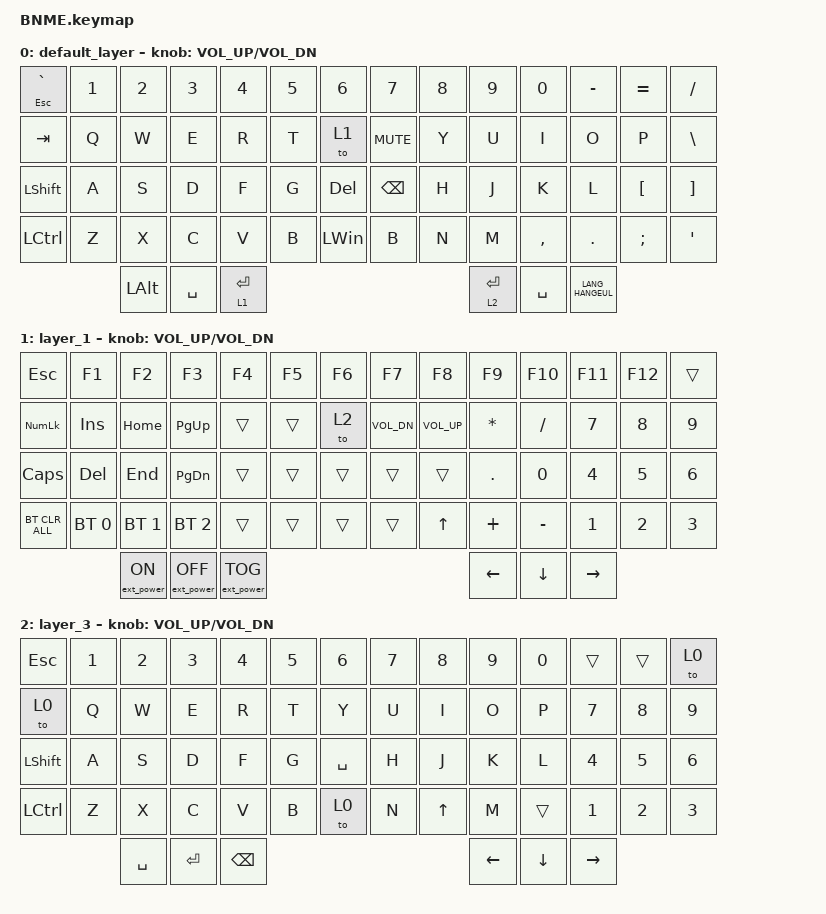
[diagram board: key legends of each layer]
/*
 * Copyright (c) 2020 The ZMK Contributors
 *
 * SPDX-License-Identifier: MIT
 */

#include <behaviors.dtsi>
#include <dt-bindings/zmk/bt.h>
#include <dt-bindings/zmk/ext_power.h>
#include <dt-bindings/zmk/keys.h>

/ {
    keymap {
        compatible = "zmk,keymap";

        default_layer {
            // ------------------------------------------------------------------------------------------------------------
            // |  ESC  |  1  |  2  |  3   |  4   |  5   |                   |  6   |  7    |  8    |  9   |   0   |   `   |
            // |  TAB  |  Q  |  W  |  E   |  R   |  T   |                   |  Y   |  U    |  I    |  O   |   P   |   -   |
            // |  CTRL |  A  |  S  |  D   |  F   |  G   |                   |  H   |  J    |  K    |  L   |   ;   |   '   |
            // | SHIFT |  Z  |  X  |  C   |  V   |  B   |   "["  |  |  "]"  |  N   |  M    |  ,    |  .   |   /   | SHIFT |
            //                     | ALT  | GUI  | LOWER|  SPACE |  | ENTER | RAISE| BSPC  | GUI   |

            bindings = <
&mt ESC GRAVE  &kp N1  &kp N2    &kp N3     &kp N4       &kp N5  &kp N6    &kp N7         &kp N8  &kp N9       &kp N0     &kp MINUS         &kp EQUAL  &kp FSLH
&kp TAB        &kp Q   &kp W     &kp E      &kp R        &kp T   &to 1     &kp C_MUTE     &kp Y   &kp U        &kp I      &kp O             &kp P      &kp BSLH
&kp LSHFT      &kp A   &kp S     &kp D      &kp F        &kp G   &kp DEL   &kp BACKSPACE  &kp H   &kp J        &kp K      &kp L             &kp LBKT   &kp RBKT
&kp LCTRL      &kp Z   &kp X     &kp C      &kp V        &kp B   &kp LWIN  &kp B          &kp N   &kp M        &kp COMMA  &kp DOT           &kp SEMI   &kp SQT
                       &kp LALT  &kp SPACE  &lt 1 ENTER                                           &lt 2 ENTER  &kp SPACE  &kp LANG_HANGEUL
            >;

            sensor-bindings = <&inc_dec_kp C_VOL_UP C_VOL_DN>;
        };

        layer_1 {
            bindings = <
&kp ESCAPE      &kp F1        &kp F2            &kp F3             &kp F4             &kp F5  &kp F6  &kp F7        &kp F8           &kp F9        &kp F10    &kp F11    &kp F12  &trans
&kp KP_NUMLOCK  &kp INS       &kp HOME          &kp PAGE_UP        &trans             &trans  &to 2   &kp C_VOL_DN  &kp C_VOLUME_UP  &kp ASTERISK  &kp SLASH  &kp N7     &kp N8   &kp N9
&kp CAPSLOCK    &kp DELETE    &kp END           &kp PAGE_DOWN      &trans             &trans  &trans  &trans        &trans           &kp DOT       &kp N0     &kp N4     &kp N5   &kp N6
&bt BT_CLR_ALL  &bt BT_SEL 0  &bt BT_SEL 1      &bt BT_SEL 2       &trans             &trans  &trans  &trans        &kp UP_ARROW     &kp PLUS      &kp MINUS  &kp N1     &kp N2   &kp N3
                              &ext_power EP_ON  &ext_power EP_OFF  &ext_power EP_TOG                                                 &kp LEFT      &kp DOWN   &kp RIGHT
            >;

            sensor-bindings = <&inc_dec_kp C_VOL_UP C_VOL_DN>;
        };

        layer_3 {
            bindings = <
&kp ESC    &kp N1  &kp N2     &kp N3   &kp N4    &kp N5  &kp N6     &kp N7  &kp N8        &kp N9    &kp N0    &trans     &trans  &to 0
&to 0      &kp Q   &kp W      &kp E    &kp R     &kp T   &kp Y      &kp U   &kp I         &kp O     &kp P     &kp N7     &kp N8  &kp N9
&kp LSHFT  &kp A   &kp S      &kp D    &kp F     &kp G   &kp SPACE  &kp H   &kp J         &kp K     &kp L     &kp N4     &kp N5  &kp N6
&kp LCTRL  &kp Z   &kp X      &kp C    &kp V     &kp B   &to 0      &kp N   &kp UP_ARROW  &kp M     &trans    &kp N1     &kp N2  &kp N3
                   &kp SPACE  &kp RET  &kp BSPC                                           &kp LEFT  &kp DOWN  &kp RIGHT
            >;

            sensor-bindings = <&inc_dec_kp C_VOL_UP C_VOL_DN>;
        };
    };
};
